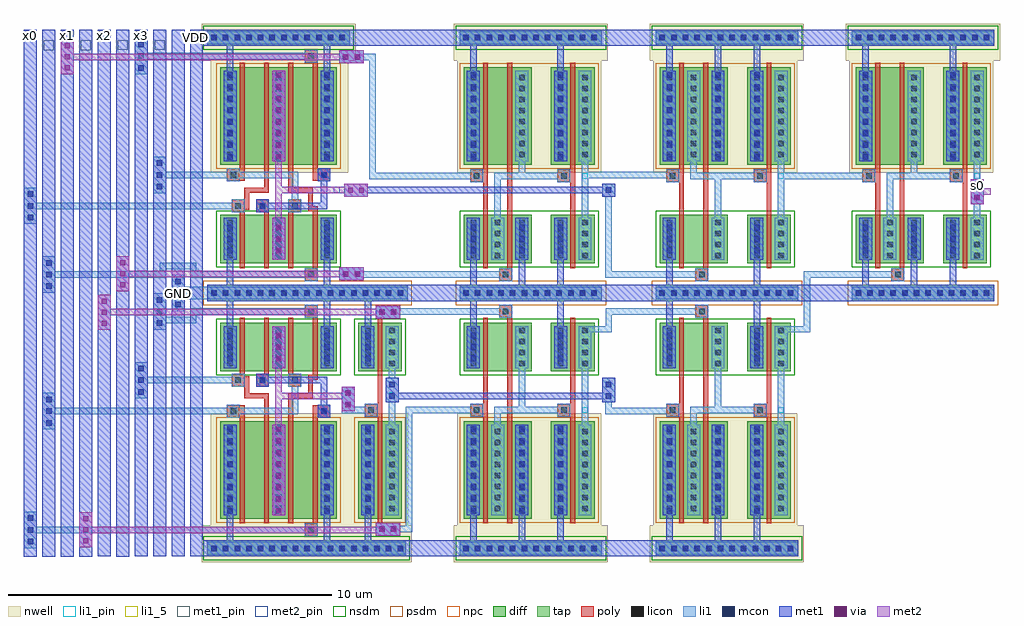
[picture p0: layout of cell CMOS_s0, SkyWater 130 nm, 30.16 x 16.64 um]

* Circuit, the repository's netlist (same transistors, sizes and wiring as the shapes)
* NGSPICE file created from CMOS_s0.ext - technology: sky130A

.subckt CMOS_AND GND AND A B VDD
X0 a_n265_0# B VDD VDD sky130_fd_pr__pfet_01v8 ad=1.8e+12p pd=7.2e+06u as=5.4e+12p ps=2.16e+07u w=3e+06u l=150000u
X1 VDD A a_n265_0# VDD sky130_fd_pr__pfet_01v8 ad=0p pd=0u as=0p ps=0u w=3e+06u l=150000u
X2 a_n265_0# A a_n265_n610# GND sky130_fd_pr__nfet_01v8 ad=9e+11p pd=4.2e+06u as=9e+11p ps=4.2e+06u w=1.5e+06u l=150000u
X3 AND a_n265_0# VDD VDD sky130_fd_pr__pfet_01v8 ad=1.8e+12p pd=7.2e+06u as=0p ps=0u w=3e+06u l=150000u
X4 a_n265_n610# B GND GND sky130_fd_pr__nfet_01v8 ad=0p pd=0u as=1.8e+12p ps=8.4e+06u w=1.5e+06u l=150000u
X5 AND a_n265_0# GND GND sky130_fd_pr__nfet_01v8 ad=9e+11p pd=4.2e+06u as=0p ps=0u w=1.5e+06u l=150000u
.ends

.subckt CMOS_XNOR GND XNOR B A_bar A B_bar a_n233_n610# VDD
X0 XNOR a_n233_n610# GND GND sky130_fd_pr__nfet_01v8 ad=9e+11p pd=4.2e+06u as=2.7e+12p ps=1.26e+07u w=1.5e+06u l=150000u
X1 a_n383_n610# A GND GND sky130_fd_pr__nfet_01v8 ad=9e+11p pd=4.2e+06u as=0p ps=0u w=1.5e+06u l=150000u
X2 a_n233_n610# B a_n383_n610# GND sky130_fd_pr__nfet_01v8 ad=9e+11p pd=4.2e+06u as=0p ps=0u w=1.5e+06u l=150000u
X3 a_n383_0# B_bar VDD VDD sky130_fd_pr__pfet_01v8 ad=1.8e+12p pd=7.2e+06u as=5.4e+12p ps=2.16e+07u w=3e+06u l=150000u
X4 a_n233_n610# A a_n383_0# VDD sky130_fd_pr__pfet_01v8 ad=1.8e+12p pd=7.2e+06u as=0p ps=0u w=3e+06u l=150000u
X5 a_n83_0# A_bar a_n233_n610# VDD sky130_fd_pr__pfet_01v8 ad=1.8e+12p pd=7.2e+06u as=0p ps=0u w=3e+06u l=150000u
X6 a_n83_n610# B_bar a_n233_n610# GND sky130_fd_pr__nfet_01v8 ad=9e+11p pd=4.2e+06u as=0p ps=0u w=1.5e+06u l=150000u
X7 GND A_bar a_n83_n610# GND sky130_fd_pr__nfet_01v8 ad=0p pd=0u as=0p ps=0u w=1.5e+06u l=150000u
X8 XNOR a_n233_n610# VDD VDD sky130_fd_pr__pfet_01v8 ad=1.8e+12p pd=7.2e+06u as=0p ps=0u w=3e+06u l=150000u
X9 VDD B a_n83_0# VDD sky130_fd_pr__pfet_01v8 ad=0p pd=0u as=0p ps=0u w=3e+06u l=150000u
.ends

.subckt CMOS_OR GND OR B A VDD
X0 a_n265_0# A VDD VDD sky130_fd_pr__pfet_01v8 ad=1.8e+12p pd=7.2e+06u as=3.6e+12p ps=1.44e+07u w=3e+06u l=150000u
X1 a_n265_n610# B a_n265_0# VDD sky130_fd_pr__pfet_01v8 ad=1.8e+12p pd=7.2e+06u as=0p ps=0u w=3e+06u l=150000u
X2 GND B a_n265_n610# GND sky130_fd_pr__nfet_01v8 ad=2.7e+12p pd=1.26e+07u as=9e+11p ps=4.2e+06u w=1.5e+06u l=150000u
X3 OR a_n265_n610# VDD VDD sky130_fd_pr__pfet_01v8 ad=1.8e+12p pd=7.2e+06u as=0p ps=0u w=3e+06u l=150000u
X4 a_n265_n610# A GND GND sky130_fd_pr__nfet_01v8 ad=0p pd=0u as=0p ps=0u w=1.5e+06u l=150000u
X5 OR a_n265_n610# GND GND sky130_fd_pr__nfet_01v8 ad=9e+11p pd=4.2e+06u as=0p ps=0u w=1.5e+06u l=150000u
.ends

.subckt CMOS_XOR GND B A_bar A B_bar XOR VDD
X0 a_90_0# A_bar XOR VDD sky130_fd_pr__pfet_01v8 ad=1.8e+12p pd=7.2e+06u as=1.8e+12p ps=7.2e+06u w=3e+06u l=150000u
X1 VDD B a_90_0# VDD sky130_fd_pr__pfet_01v8 ad=3.6e+12p pd=1.44e+07u as=0p ps=0u w=3e+06u l=150000u
X2 a_n210_n610# A GND GND sky130_fd_pr__nfet_01v8 ad=9e+11p pd=4.2e+06u as=1.8e+12p ps=8.4e+06u w=1.5e+06u l=150000u
X3 GND A_bar a_90_n610# GND sky130_fd_pr__nfet_01v8 ad=0p pd=0u as=9e+11p ps=4.2e+06u w=1.5e+06u l=150000u
X4 XOR A a_n210_0# VDD sky130_fd_pr__pfet_01v8 ad=0p pd=0u as=1.8e+12p ps=7.2e+06u w=3e+06u l=150000u
X5 a_n210_0# B_bar VDD VDD sky130_fd_pr__pfet_01v8 ad=0p pd=0u as=0p ps=0u w=3e+06u l=150000u
X6 a_90_n610# B_bar XOR GND sky130_fd_pr__nfet_01v8 ad=0p pd=0u as=9e+11p ps=4.2e+06u w=1.5e+06u l=150000u
X7 XOR B a_n210_n610# GND sky130_fd_pr__nfet_01v8 ad=0p pd=0u as=0p ps=0u w=1.5e+06u l=150000u
.ends

.subckt CMOS_s0 GND x0 x0_bar x1 x1_bar x2 x2_bar x3 x3_bar VDD s0
XCMOS_AND_0 GND CMOS_OR_0/A CMOS_AND_0/A CMOS_OR_1/OR VDD CMOS_AND
XCMOS_AND_1 GND CMOS_OR_0/B CMOS_AND_1/A CMOS_AND_1/B VDD CMOS_AND
XCMOS_AND_2 GND CMOS_AND_1/A x2 x1_bar VDD CMOS_AND
XCMOS_XNOR_0 GND CMOS_AND_1/B x0 x3_bar x3 x0_bar li_n1691_n898# VDD CMOS_XNOR
XCMOS_OR_0 GND s0 CMOS_OR_0/B CMOS_OR_0/A VDD CMOS_OR
XCMOS_OR_1 GND CMOS_OR_1/OR x2_bar x1 VDD CMOS_OR
XCMOS_XOR_0 GND x3 x0_bar x0 x3_bar CMOS_AND_0/A VDD CMOS_XOR
.ends

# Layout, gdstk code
import gdstk
lib = gdstk.Library(unit=1e-6, precision=1e-09)
def R(c, l, rs):  # rectangles x0, y0, x1, y1
    for r in rs: c.add(gdstk.rectangle(r[:2], r[2:], *l))
def A(c, l, x, y, w, h, nx, ny, dx, dy):  # array of equal rectangles
    R(c, l, [(x+i*dx, y+j*dy, x+i*dx+w, y+j*dy+h) for i in range(nx) for j in range(ny)])
nwell = (64, 20)
diff = (65, 20)
tap = (65, 44)
poly = (66, 20)
licon = (66, 44)
li1_5 = (67, 5)
li1_pin = (67, 16)
li1 = (67, 20)
mcon = (67, 44)
met1_pin = (68, 16)
met1 = (68, 20)
via = (68, 44)
met2_pin = (69, 16)
met2 = (69, 20)
nsdm = (93, 44)
psdm = (94, 20)
npc = (95, 20)

cmos_xnor = lib.new_cell('CMOS_XNOR')
R(cmos_xnor, nwell, [(-2.965,-0.25,3.14,3.2), (-3.245,3.2,3.245,4.35)])
R(cmos_xnor, diff, [(-2.665,-3.05,0.935,-1.55), (1.59,-3.05,2.94,-1.55), (-2.665,0,0.935,3), (1.59,0,2.94,3)])
R(cmos_xnor, tap, [(-3.065,-4.22,3.12,-3.72), (-3.065,3.67,3.065,4.17)])
A(cmos_xnor, poly, -2.065, -3.2, 0.15, 1.725, 3, 1, 0.75, 0)
R(cmos_xnor, poly, [(-0.065,-3.6,0.335,-3.2), (0.185,-3.2,0.335,-1.44), (2.19,-3.2,2.34,-0.55), (-2.315,-1.475,-1.915,-1.4), (-1.565,-1.475,-1.165,-1.075), (-0.565,-1.475,-0.165,-1.075), (0.045,-1.44,0.335,-1.29), (-2.315,-1.4,-1.775,-1.075), (0.045,-1.29,0.195,-0.865), (-1.925,-1.075,-1.775,-0.865), (-1.925,-0.865,-1.165,-0.715), (-0.565,-0.865,0.195,-0.715), (-1.315,-0.715,-1.165,3.15), (-0.565,-0.715,-0.415,3.15), (1.79,-0.55,2.34,-0.15), (-2.465,-0.52,-2.065,-0.505), (0.335,-0.52,0.735,-0.505), (-2.465,-0.505,-1.915,-0.12), (0.185,-0.505,0.735,-0.12), (2.19,-0.15,2.34,3.15), (-2.065,-0.12,-1.915,3.15), (0.185,-0.12,0.335,3.15), (-0.065,3.15,0.335,3.55)])
A(cmos_xnor, licon, -2.95, -4.055, 0.17, 0.17, 17, 2, 0.36, 7.89)
A(cmos_xnor, licon, -2.45, -2.895, 0.17, 0.17, 3, 4, 1.5, 0.34)
A(cmos_xnor, licon, 1.805, -2.895, 0.17, 0.17, 1, 4, 0, 0.34)
A(cmos_xnor, licon, 2.555, -2.895, 0.17, 0.17, 1, 4, 0, 0.34)
A(cmos_xnor, licon, -2.45, 0.225, 0.17, 0.17, 3, 8, 1.5, 0.34)
A(cmos_xnor, licon, 1.805, 0.225, 0.17, 0.17, 1, 8, 0, 0.34)
A(cmos_xnor, licon, 2.555, 0.225, 0.17, 0.17, 1, 8, 0, 0.34)
R(cmos_xnor, licon, [(0.05,-3.485,0.22,-3.315), (-2.2,-1.36,-2.03,-1.19), (-1.45,-1.36,-1.28,-1.19), (-0.45,-1.36,-0.28,-1.19), (1.905,-0.435,2.075,-0.265), (-2.35,-0.405,-2.18,-0.235), (0.45,-0.405,0.62,-0.235), (0.05,3.265,0.22,3.435)])
R(cmos_xnor, li1_5, [(1.905,-0.435,2.075,-0.265)])
R(cmos_xnor, li1_pin, [(0.05,-3.485,0.22,-3.315), (-2.2,-1.36,-2.03,-1.19), (2.555,-0.91,2.725,-0.74), (-2.38,-0.445,-2.135,-0.21), (0.05,3.265,0.22,3.435)])
A(cmos_xnor, li1, -2.565, -2.95, 0.4, 1.3, 3, 1, 1.5, 0)
A(cmos_xnor, li1, -2.565, 0.1, 0.4, 2.8, 3, 1, 1.5, 0)
R(cmos_xnor, li1, [(-3.065,-4.17,3.12,-3.77), (-0.065,-3.6,0.335,-3.2), (1.69,-2.95,2.09,-1.65), (2.44,-2.95,2.84,-1.65), (2.54,-1.65,2.74,0.1), (-2.315,-1.475,-1.915,-1.075), (-1.565,-1.475,-1.165,-1.075), (-0.565,-1.475,-0.165,-1.075), (1.08,-1.08,1.48,-0.68), (-0.465,-1.075,-0.265,-0.42), (1.18,-0.68,1.38,-0.45), (1.79,-0.55,2.19,-0.45), (-2.465,-0.52,-2.065,-0.42), (0.335,-0.52,0.735,-0.12), (1.18,-0.45,2.19,-0.25), (-2.465,-0.42,-0.265,-0.22), (1.79,-0.25,2.19,-0.15), (-2.465,-0.22,-2.065,-0.12), (1.69,0.1,2.09,2.9), (2.44,0.1,2.84,2.9), (-0.065,3.15,0.335,3.55), (-3.065,3.72,3.065,4.12)])
A(cmos_xnor, mcon, -2.95, -4.055, 0.17, 0.17, 17, 2, 0.36, 7.89)
A(cmos_xnor, mcon, -2.45, -2.745, 0.17, 0.17, 3, 3, 1.5, 0.36)
A(cmos_xnor, mcon, 1.805, -2.745, 0.17, 0.17, 1, 3, 0, 0.36)
A(cmos_xnor, mcon, -2.45, 0.155, 0.17, 0.17, 3, 8, 1.5, 0.36)
A(cmos_xnor, mcon, 1.805, 0.155, 0.17, 0.17, 1, 8, 0, 0.36)
R(cmos_xnor, mcon, [(-1.45,-1.36,-1.28,-1.19), (1.195,-0.965,1.365,-0.795), (0.45,-0.405,0.62,-0.235)])
R(cmos_xnor, met1_pin, [(-1.165,-4.07,-0.965,-3.87), (-1.165,3.82,-0.965,4.02)])
A(cmos_xnor, met1, -2.565, -2.95, 0.4, 1.3, 3, 1, 1.5, 0)
A(cmos_xnor, met1, -2.565, 0.1, 0.4, 2.8, 3, 1, 1.5, 0)
R(cmos_xnor, met1, [(-3.065,-4.22,3.12,-3.72), (-2.465,-3.72,-2.265,-2.95), (0.535,-3.72,0.735,-2.95), (1.79,-3.72,1.99,-2.95), (1.69,-2.95,2.09,-1.65), (-1.565,-1.475,-1.165,-1.375), (-1.565,-1.375,0.63,-1.175), (-1.565,-1.175,-1.165,-1.075), (0.435,-1.175,0.63,-0.52), (1.08,-1.08,1.48,-0.68), (0.335,-0.52,0.735,-0.12), (1.69,0.1,2.09,2.9), (-2.465,2.9,-2.265,3.67), (0.535,2.9,0.735,3.67), (1.79,2.9,1.99,3.67), (-3.065,3.67,3.065,4.17)])
A(cmos_xnor, via, -0.94, -2.735, 0.15, 0.15, 1, 3, 0, 0.36)
A(cmos_xnor, via, -0.94, 0.165, 0.15, 0.15, 1, 8, 0, 0.36)
R(cmos_xnor, via, [(1.205,-0.955,1.355,-0.805)])
R(cmos_xnor, met2, [(-1.065,-2.95,-0.665,-1.65), (-0.965,-1.65,-0.765,-0.88), (1.08,-1.08,1.48,-0.88), (-0.965,-0.88,1.48,-0.68), (-0.965,-0.68,-0.765,0.1), (-1.065,0.1,-0.665,2.9)])
R(cmos_xnor, nsdm, [(-2.79,-3.175,1.06,-1.425), (1.465,-3.175,3.065,-1.425), (-3.19,3.545,3.19,4.295)])
R(cmos_xnor, psdm, [(-3.19,-4.345,3.245,-3.595), (-2.79,-0.125,1.06,3.125), (1.465,-0.125,3.065,3.125)])
R(cmos_xnor, npc, [(-0.05,-3.585,0.32,-3.215), (-2.3,-1.46,-1.93,-1.09), (-1.55,-1.46,-1.18,-1.09), (-0.55,-1.46,-0.18,-1.09), (1.805,-0.535,2.175,-0.165), (-2.45,-0.505,-2.08,-0.135), (0.35,-0.505,0.72,-0.135), (-0.05,3.165,0.32,3.535)])
cmos_xnor.add(gdstk.Label('GND!', (-1.065,-3.97), layer=68, texttype=16))
cmos_xnor.add(gdstk.Label('VDD', (-1.065,3.92), layer=68, texttype=16))
cmos_xnor.add(gdstk.Label('XNOR', (2.64,-0.825), layer=67, texttype=16))
cmos_xnor.add(gdstk.Label('B', (0.135,3.35), layer=67, texttype=16))
cmos_xnor.add(gdstk.Label('A_bar', (0.135,-3.4), layer=67, texttype=16))
cmos_xnor.add(gdstk.Label('A', (-2.115,-1.275), layer=67, texttype=16))
cmos_xnor.add(gdstk.Label('B_bar', (-2.257,-0.327), layer=67, texttype=16))

cmos_or = lib.new_cell('CMOS_OR')
R(cmos_or, nwell, [(-2.275,-0.25,2.175,3.2), (-2.38,3.2,2.38,4.35)])
R(cmos_or, diff, [(-2.075,-3.05,0.025,-1.55), (0.625,-3.05,1.975,-1.55), (-2.075,0,0.025,3), (0.625,0,1.975,3)])
R(cmos_or, tap, [(-2.2,-4.22,2.2,-3.72), (-2.2,3.67,2.2,4.17)])
R(cmos_or, poly, [(-0.975,-3.6,-0.575,-3.2), (-1.475,-3.2,-1.325,-0.55), (-0.725,-3.2,-0.575,3.15), (1.225,-3.2,1.375,-0.55), (-1.875,-0.55,-1.325,-0.15), (0.825,-0.55,1.375,-0.15), (-1.475,-0.15,-1.325,3.15), (1.225,-0.15,1.375,3.15)])
A(cmos_or, licon, -2.085, -4.055, 0.17, 0.17, 12, 2, 0.36, 7.89)
A(cmos_or, licon, -1.86, -2.895, 0.17, 0.17, 3, 4, 0.75, 0.34)
A(cmos_or, licon, 0.84, -2.895, 0.17, 0.17, 1, 4, 0, 0.34)
A(cmos_or, licon, 1.59, -2.895, 0.17, 0.17, 1, 4, 0, 0.34)
A(cmos_or, licon, -1.86, 0.225, 0.17, 0.17, 1, 8, 0, 0.34)
A(cmos_or, licon, -0.36, 0.225, 0.17, 0.17, 1, 8, 0, 0.34)
A(cmos_or, licon, 0.84, 0.225, 0.17, 0.17, 1, 8, 0, 0.34)
A(cmos_or, licon, 1.59, 0.225, 0.17, 0.17, 1, 8, 0, 0.34)
R(cmos_or, licon, [(-0.86,-3.485,-0.69,-3.315), (-1.76,-0.435,-1.59,-0.265), (0.94,-0.435,1.11,-0.265)])
R(cmos_or, li1_pin, [(-0.86,-3.485,-0.69,-3.315), (-1.76,-0.435,-1.59,-0.265), (1.59,-0.435,1.76,-0.265)])
A(cmos_or, li1, -1.975, -2.95, 0.4, 1.3, 3, 1, 0.75, 0)
R(cmos_or, li1, [(-2.2,-4.17,2.2,-3.77), (-0.975,-3.6,-0.575,-3.2), (0.725,-2.95,1.125,-1.65), (1.475,-2.95,1.875,-1.65), (-1.125,-1.65,-0.925,-0.45), (1.575,-1.65,1.775,0.1), (-1.875,-0.55,-1.475,-0.15), (0.825,-0.55,1.225,-0.45), (-1.125,-0.45,1.225,-0.25), (-0.375,-0.25,-0.175,0.1), (0.825,-0.25,1.225,-0.15), (-1.975,0.1,-1.575,2.9), (-0.475,0.1,-0.075,2.9), (0.725,0.1,1.125,2.9), (1.475,0.1,1.875,2.9), (-2.2,3.72,2.2,4.12)])
A(cmos_or, mcon, -2.085, -4.055, 0.17, 0.17, 12, 2, 0.36, 7.89)
A(cmos_or, mcon, -1.86, -2.745, 0.17, 0.17, 1, 3, 0, 0.36)
A(cmos_or, mcon, -0.36, -2.745, 0.17, 0.17, 1, 3, 0, 0.36)
A(cmos_or, mcon, 0.84, -2.745, 0.17, 0.17, 1, 3, 0, 0.36)
A(cmos_or, mcon, -1.86, 0.155, 0.17, 0.17, 1, 8, 0, 0.36)
A(cmos_or, mcon, 0.84, 0.155, 0.17, 0.17, 1, 8, 0, 0.36)
R(cmos_or, met1_pin, [(-0.3,-4.07,-0.1,-3.87), (-0.3,3.82,-0.1,4.02)])
R(cmos_or, met1, [(-2.2,-4.22,2.2,-3.72), (-1.875,-3.72,-1.675,-2.95), (-0.375,-3.72,-0.175,-2.95), (0.825,-3.72,1.025,-2.95), (-1.975,-2.95,-1.575,-1.65), (-0.475,-2.95,-0.075,-1.65), (0.725,-2.95,1.125,-1.65), (-1.975,0.1,-1.575,2.9), (0.725,0.1,1.125,2.9), (-1.875,2.9,-1.675,3.67), (0.825,2.9,1.025,3.67), (-2.2,3.67,2.2,4.17)])
R(cmos_or, nsdm, [(-2.2,-3.175,2.1,-1.425), (-2.325,3.545,2.325,4.295)])
R(cmos_or, psdm, [(-2.325,-4.345,2.325,-3.595), (-2.2,-0.125,2.1,3.125)])
R(cmos_or, npc, [(-0.96,-3.585,-0.59,-3.215), (-1.86,-0.535,-1.49,-0.165), (0.84,-0.535,1.21,-0.165)])
cmos_or.add(gdstk.Label('GND!', (-0.2,-3.97), layer=68, texttype=16))
cmos_or.add(gdstk.Label('VDD', (-0.2,3.92), layer=68, texttype=16))
cmos_or.add(gdstk.Label('OR', (1.675,-0.35), layer=67, texttype=16))
cmos_or.add(gdstk.Label('B', (-0.775,-3.4), layer=67, texttype=16))
cmos_or.add(gdstk.Label('A', (-1.675,-0.35), layer=67, texttype=16))

cmos_and = lib.new_cell('CMOS_AND')
R(cmos_and, nwell, [(-2.275,-0.25,2.175,3.2), (-2.38,3.2,2.38,4.35)])
R(cmos_and, diff, [(-2.075,-3.05,0.025,-1.55), (0.625,-3.05,1.975,-1.55), (-2.075,0,0.025,3), (0.625,0,1.975,3)])
R(cmos_and, tap, [(-2.2,-4.22,2.2,-3.72), (-2.2,3.67,2.2,4.17)])
R(cmos_and, poly, [(-0.975,-3.6,-0.575,-3.2), (-1.475,-3.2,-1.325,-0.55), (-0.725,-3.2,-0.575,3.15), (1.225,-3.2,1.375,-0.55), (-1.875,-0.55,-1.325,-0.15), (0.825,-0.55,1.375,-0.15), (-1.475,-0.15,-1.325,3.15), (1.225,-0.15,1.375,3.15)])
A(cmos_and, licon, -2.085, -4.055, 0.17, 0.17, 12, 2, 0.36, 7.89)
A(cmos_and, licon, -1.86, -2.895, 0.17, 0.17, 1, 4, 0, 0.34)
A(cmos_and, licon, -0.36, -2.895, 0.17, 0.17, 1, 4, 0, 0.34)
A(cmos_and, licon, 0.84, -2.895, 0.17, 0.17, 1, 4, 0, 0.34)
A(cmos_and, licon, 1.59, -2.895, 0.17, 0.17, 1, 4, 0, 0.34)
A(cmos_and, licon, -1.86, 0.225, 0.17, 0.17, 3, 8, 0.75, 0.34)
A(cmos_and, licon, 0.84, 0.225, 0.17, 0.17, 1, 8, 0, 0.34)
A(cmos_and, licon, 1.59, 0.225, 0.17, 0.17, 1, 8, 0, 0.34)
R(cmos_and, licon, [(-0.86,-3.485,-0.69,-3.315), (-1.76,-0.435,-1.59,-0.265), (0.94,-0.435,1.11,-0.265)])
R(cmos_and, li1_pin, [(-0.86,-3.485,-0.69,-3.315), (-1.76,-0.435,-1.59,-0.265), (1.59,-0.435,1.76,-0.265)])
A(cmos_and, li1, -1.975, 0.1, 0.4, 2.8, 3, 1, 0.75, 0)
R(cmos_and, li1, [(-2.2,-4.17,2.2,-3.77), (-0.975,-3.6,-0.575,-3.2), (-1.975,-2.95,-1.575,-1.65), (-0.475,-2.95,-0.075,-1.65), (0.725,-2.95,1.125,-1.65), (1.475,-2.95,1.875,-1.65), (-0.375,-1.65,-0.175,-0.45), (1.575,-1.65,1.775,0.1), (-1.875,-0.55,-1.475,-0.15), (0.825,-0.55,1.225,-0.45), (-1.125,-0.45,1.225,-0.25), (-1.125,-0.25,-0.925,0.1), (0.825,-0.25,1.225,-0.15), (0.725,0.1,1.125,2.9), (1.475,0.1,1.875,2.9), (-2.2,3.72,2.2,4.12)])
A(cmos_and, mcon, -2.085, -4.055, 0.17, 0.17, 12, 2, 0.36, 7.89)
A(cmos_and, mcon, -1.86, -2.745, 0.17, 0.17, 1, 3, 0, 0.36)
A(cmos_and, mcon, 0.84, -2.745, 0.17, 0.17, 1, 3, 0, 0.36)
A(cmos_and, mcon, -1.86, 0.155, 0.17, 0.17, 1, 8, 0, 0.36)
A(cmos_and, mcon, -0.36, 0.155, 0.17, 0.17, 1, 8, 0, 0.36)
A(cmos_and, mcon, 0.84, 0.155, 0.17, 0.17, 1, 8, 0, 0.36)
R(cmos_and, met1_pin, [(-0.3,-4.07,-0.1,-3.87), (-0.3,3.82,-0.1,4.02)])
R(cmos_and, met1, [(-2.2,-4.22,2.2,-3.72), (-1.875,-3.72,-1.675,-2.95), (0.825,-3.72,1.025,-2.95), (-1.975,-2.95,-1.575,-1.65), (0.725,-2.95,1.125,-1.65), (-1.975,0.1,-1.575,2.9), (-0.475,0.1,-0.075,2.9), (0.725,0.1,1.125,2.9), (-1.875,2.9,-1.675,3.67), (-0.37,2.9,-0.17,3.67), (0.825,2.9,1.025,3.67), (-2.2,3.67,2.2,4.17)])
R(cmos_and, nsdm, [(-2.2,-3.175,2.1,-1.425), (-2.325,3.545,2.325,4.295)])
R(cmos_and, psdm, [(-2.325,-4.345,2.325,-3.595), (-2.2,-0.125,2.1,3.125)])
R(cmos_and, npc, [(-0.96,-3.585,-0.59,-3.215), (-1.86,-0.535,-1.49,-0.165), (0.84,-0.535,1.21,-0.165)])
cmos_and.add(gdstk.Label('GND!', (-0.2,-3.97), layer=68, texttype=16))
cmos_and.add(gdstk.Label('VDD', (-0.2,3.92), layer=68, texttype=16))
cmos_and.add(gdstk.Label('AND', (1.675,-0.35), layer=67, texttype=16))
cmos_and.add(gdstk.Label('A', (-0.775,-3.4), layer=67, texttype=16))
cmos_and.add(gdstk.Label('B', (-1.675,-0.35), layer=67, texttype=16))

cmos_xor = lib.new_cell('CMOS_XOR')
R(cmos_xor, nwell, [(-2.1,-0.25,2.15,3.2), (-2.38,3.2,2.38,4.35)])
R(cmos_xor, diff, [(-1.8,-3.05,1.8,-1.55), (-1.8,0,1.8,3)])
R(cmos_xor, tap, [(-2.2,-4.22,2.2,-3.72), (-2.2,3.67,2.2,4.17)])
A(cmos_xor, poly, -1.2, -3.2, 0.15, 1.725, 3, 1, 0.75, 0)
R(cmos_xor, poly, [(0.8,-3.6,1.2,-3.2), (1.05,-3.2,1.2,-1.44), (-1.45,-1.475,-1.05,-1.4), (-0.7,-1.475,-0.3,-1.075), (0.3,-1.475,0.7,-1.075), (0.91,-1.44,1.2,-1.29), (-1.45,-1.4,-0.91,-1.075), (0.91,-1.29,1.06,-0.865), (-1.06,-1.075,-0.91,-0.865), (-1.06,-0.865,-0.3,-0.715), (0.3,-0.865,1.06,-0.715), (-0.45,-0.715,-0.3,3.15), (0.3,-0.715,0.45,3.15), (-1.6,-0.52,-1.2,-0.505), (1.2,-0.52,1.6,-0.505), (-1.6,-0.505,-1.05,-0.12), (1.05,-0.505,1.6,-0.12), (-1.2,-0.12,-1.05,3.15), (1.05,-0.12,1.2,3.15), (0.8,3.15,1.2,3.55)])
A(cmos_xor, licon, -2.085, -4.055, 0.17, 0.17, 12, 2, 0.36, 7.89)
A(cmos_xor, licon, -1.585, -2.895, 0.17, 0.17, 3, 4, 1.5, 0.34)
A(cmos_xor, licon, -1.585, 0.225, 0.17, 0.17, 3, 8, 1.5, 0.34)
R(cmos_xor, licon, [(0.915,-3.485,1.085,-3.315), (-1.335,-1.36,-1.165,-1.19), (-0.585,-1.36,-0.415,-1.19), (0.415,-1.36,0.585,-1.19), (-1.485,-0.405,-1.315,-0.235), (1.315,-0.405,1.485,-0.235), (0.915,3.265,1.085,3.435)])
R(cmos_xor, li1_pin, [(0.915,-3.485,1.085,-3.315), (-1.335,-1.36,-1.165,-1.19), (-1.515,-0.445,-1.27,-0.21), (0.915,3.265,1.085,3.435)])
A(cmos_xor, li1, -1.7, -2.95, 0.4, 1.3, 3, 1, 1.5, 0)
A(cmos_xor, li1, -1.7, 0.1, 0.4, 2.8, 3, 1, 1.5, 0)
R(cmos_xor, li1, [(-2.2,-4.17,2.2,-3.77), (0.8,-3.6,1.2,-3.2), (-1.45,-1.475,-1.05,-1.075), (-0.7,-1.475,-0.3,-1.075), (0.3,-1.475,0.7,-1.075), (0.4,-1.075,0.6,-0.42), (-1.6,-0.52,-1.2,-0.42), (1.2,-0.52,1.6,-0.12), (-1.6,-0.42,0.6,-0.22), (-1.6,-0.22,-1.2,-0.12), (0.8,3.15,1.2,3.55), (-2.2,3.72,2.2,4.12)])
A(cmos_xor, mcon, -2.085, -4.055, 0.17, 0.17, 12, 2, 0.36, 7.89)
A(cmos_xor, mcon, -1.585, -2.745, 0.17, 0.17, 3, 3, 1.5, 0.36)
A(cmos_xor, mcon, -1.585, 0.155, 0.17, 0.17, 3, 8, 1.5, 0.36)
R(cmos_xor, mcon, [(-0.585,-1.36,-0.415,-1.19), (1.315,-0.405,1.485,-0.235)])
R(cmos_xor, met1_pin, [(-0.3,-4.07,-0.1,-3.87), (-0.3,3.82,-0.1,4.02)])
A(cmos_xor, met1, -1.7, -2.95, 0.4, 1.3, 3, 1, 1.5, 0)
A(cmos_xor, met1, -1.7, 0.1, 0.4, 2.8, 3, 1, 1.5, 0)
R(cmos_xor, met1, [(-2.2,-4.22,2.2,-3.72), (-1.6,-3.72,-1.4,-2.95), (1.4,-3.72,1.6,-2.95), (-0.7,-1.475,-0.3,-1.375), (-0.7,-1.375,1.495,-1.175), (-0.7,-1.175,-0.3,-1.075), (1.3,-1.175,1.495,-0.52), (1.2,-0.52,1.6,-0.12), (-1.6,2.9,-1.4,3.67), (1.4,2.9,1.6,3.67), (-2.2,3.67,2.2,4.17)])
A(cmos_xor, via, -0.075, -2.735, 0.15, 0.15, 1, 3, 0, 0.36)
A(cmos_xor, via, -0.075, 0.165, 0.15, 0.15, 1, 8, 0, 0.36)
R(cmos_xor, met2_pin, [(1.7,-0.87,1.88,-0.69)])
R(cmos_xor, met2, [(-0.2,-2.95,0.2,-1.65), (-0.1,-1.65,0.1,-0.88), (-0.1,-0.88,2.15,-0.68), (-0.1,-0.68,0.1,0.1), (-0.2,0.1,0.2,2.9)])
R(cmos_xor, nsdm, [(-1.925,-3.175,1.925,-1.425), (-2.325,3.545,2.325,4.295)])
R(cmos_xor, psdm, [(-2.325,-4.345,2.325,-3.595), (-1.925,-0.125,1.925,3.125)])
R(cmos_xor, npc, [(0.815,-3.585,1.185,-3.215), (-1.435,-1.46,-1.065,-1.09), (-0.685,-1.46,-0.315,-1.09), (0.315,-1.46,0.685,-1.09), (-1.585,-0.505,-1.215,-0.135), (1.215,-0.505,1.585,-0.135), (0.815,3.165,1.185,3.535)])
cmos_xor.add(gdstk.Label('GND!', (-0.2,-3.97), layer=68, texttype=16))
cmos_xor.add(gdstk.Label('VDD', (-0.2,3.92), layer=68, texttype=16))
cmos_xor.add(gdstk.Label('B', (1,3.35), layer=67, texttype=16))
cmos_xor.add(gdstk.Label('A_bar', (1,-3.4), layer=67, texttype=16))
cmos_xor.add(gdstk.Label('A', (-1.25,-1.275), layer=67, texttype=16))
cmos_xor.add(gdstk.Label('B_bar', (-1.392,-0.327), layer=67, texttype=16))
cmos_xor.add(gdstk.Label('XOR', (1.79,-0.78), layer=69, texttype=16))

cmos_s0 = lib.new_cell('CMOS_s0')
R(cmos_s0, li1, [(-18.27,-8.65,-17.87,-8.19), (-7.405,-8.27,-6.645,-8.17), (-18.27,-8.19,-9.6,-7.99), (-7.405,-8.17,-6.275,-7.97), (-18.27,-7.99,-17.87,-7.53), (-7.405,-7.97,-6.645,-7.87), (-6.475,-7.97,-6.275,-4.49), (-17.7,-4.98,-17.3,-4.52), (-17.7,-4.52,-12,-4.32), (-0.305,-4.52,1.62,-4.32), (-8.455,-4.49,-8.355,-4.42), (-6.475,-4.49,-4.485,-4.29), (-8.455,-4.42,-8.055,-4.02), (-17.7,-4.32,-17.3,-3.86), (-0.305,-4.32,-0.105,-4.15), (-7.095,-4.15,-6.695,-3.39), (-0.405,-4.15,-0.005,-3.39), (-14.85,-4.025,-14.45,-3.565), (-14.85,-3.565,-11.85,-3.365), (-14.85,-3.365,-14.45,-2.905), (-0.835,-1.99,-0.1,-1.79), (5.325,-1.99,6.02,-1.79), (-14.28,-1.9,-13.88,-1.7), (-0.3,-1.79,-0.1,-1.44), (5.82,-1.79,6.02,-0.3), (-14.28,-1.7,-12.94,-1.5), (-7.405,-1.56,-6.645,-1.44), (-14.28,-1.5,-13.88,-0.78), (-13.14,-1.5,-12.94,-1.44), (-13.14,-1.44,-9.6,-1.24), (-7.405,-1.44,-3.585,-1.24), (-0.3,-1.44,2.475,-1.24), (-13.71,-1.33,-13.31,-0.97), (-7.405,-1.24,-6.645,-1.16), (-13.71,-0.97,-12.6,-0.57), (-17.7,-0.76,-17.3,-0.3), (-13.71,-0.57,-13.31,-0.21), (-8.53,-0.38,-7.77,-0.3), (-17.7,-0.3,-13.88,-0.1), (-13.14,-0.3,-9.6,-0.1), (-8.53,-0.3,-3.585,-0.1), (-0.305,-0.3,2.475,-0.1), (5.82,-0.3,8.535,-0.1), (-17.7,-0.1,-17.3,0.36), (-14.08,-0.1,-13.88,-0.04), (-13.14,-0.1,-12.94,-0.04), (-8.53,-0.1,-7.77,0.02), (-0.305,-0.1,-0.105,2.21), (-14.08,-0.04,-12.94,0.16), (-18.27,1.365,-17.87,1.825), (-18.27,1.825,-11.85,2.025), (10.985,1.98,11.385,2.74), (-18.27,2.025,-17.87,2.485), (-0.405,2.21,-0.005,2.61), (-14.28,2.32,-13.88,2.78), (-7.6,2.75,-4.485,2.95), (5.225,2.75,7.635,2.95), (-14.28,2.78,-12,2.98), (-0.835,2.78,1.575,2.98), (-7.6,2.95,-7.4,6.43), (-14.28,2.98,-13.88,3.44), (-14.85,5.99,-14.45,6.45), (-8.53,6.33,-7.77,6.43), (-8.53,6.43,-7.4,6.63), (-14.85,6.45,-9.6,6.65), (-8.53,6.63,-7.77,6.73), (-14.85,6.65,-14.45,7.11)])
A(cmos_s0, mcon, -18.155, -8.535, 0.17, 0.17, 1, 3, 0, 0.36)
A(cmos_s0, mcon, -17.585, -4.865, 0.17, 0.17, 1, 3, 0, 0.36)
A(cmos_s0, mcon, -14.735, -3.91, 0.17, 0.17, 1, 3, 0, 0.36)
A(cmos_s0, mcon, -14.165, -1.785, 0.17, 0.17, 1, 3, 0, 0.36)
A(cmos_s0, mcon, -13.595, -1.215, 0.17, 0.17, 1, 3, 0, 0.36)
A(cmos_s0, mcon, -17.585, -0.645, 0.17, 0.17, 1, 3, 0, 0.36)
A(cmos_s0, mcon, -18.155, 1.48, 0.17, 0.17, 1, 3, 0, 0.36)
A(cmos_s0, mcon, -14.165, 2.435, 0.17, 0.17, 1, 3, 0, 0.36)
A(cmos_s0, mcon, -14.735, 6.105, 0.17, 0.17, 1, 3, 0, 0.36)
R(cmos_s0, mcon, [(-7.29,-8.155,-7.12,-7.985), (-6.93,-8.155,-6.76,-7.985), (-8.34,-4.305,-8.17,-4.135), (-6.98,-4.035,-6.81,-3.865), (-0.29,-4.035,-0.12,-3.865), (-6.98,-3.675,-6.81,-3.505), (-0.29,-3.675,-0.12,-3.505), (-7.29,-1.445,-7.12,-1.275), (-6.93,-1.445,-6.76,-1.275), (-8.415,-0.265,-8.245,-0.095), (-8.055,-0.265,-7.885,-0.095), (11.1,2.095,11.27,2.265), (-0.29,2.325,-0.12,2.495), (11.1,2.455,11.27,2.625), (-8.415,6.445,-8.245,6.615), (-8.055,6.445,-7.885,6.615)])
R(cmos_s0, met1_pin, [(-13.595,-0.855,-13.425,-0.685), (-17.655,6.735,-17.35,7.035), (-16.51,6.735,-16.205,7.035), (-15.375,6.74,-15.07,7.04), (-14.23,6.74,-13.925,7.04), (-18.22,7.04,-17.915,7.34), (-17.08,7.04,-16.775,7.34), (-13.05,7.04,-12.88,7.21), (-15.94,7.045,-15.635,7.345), (-14.8,7.045,-14.495,7.345)])
A(cmos_s0, met1, -18.27, -8.915, 0.4, 16.285, 4, 1, 0.57, 0)
A(cmos_s0, met1, -14.85, -8.91, 0.4, 16.28, 3, 1, 0.57, 0)
R(cmos_s0, met1, [(-15.42,-8.915,-15.02,7.37), (-15.99,-8.91,-15.59,7.37), (-13.14,-8.91,-12.6,-8.41), (-6.47,-8.91,-4.81,-8.41), (-0.41,-8.91,1.25,-8.41), (-13.14,-8.41,-12.74,6.87), (-7.405,-8.27,-6.645,-7.87), (-8.455,-4.42,-8.055,-4.02), (-7.095,-4.15,-6.695,-4.05), (-0.405,-4.15,-0.005,-4.05), (-7.095,-4.05,-0.005,-3.85), (-7.095,-3.85,-6.695,-3.39), (-0.405,-3.85,-0.005,-3.39), (-7.405,-1.56,-6.645,-1.16), (-6.415,-1.02,-4.755,-0.52), (-0.41,-1.02,1.25,-0.52), (5.65,-1.02,7.31,-0.52), (-8.53,-0.38,-7.77,0.02), (10.985,1.98,11.385,2.74), (-8.38,2.21,-7.64,2.31), (-0.405,2.21,-0.005,2.31), (-8.38,2.31,-0.005,2.51), (-8.38,2.51,-7.64,2.61), (-0.405,2.51,-0.005,2.61), (-8.53,6.33,-7.77,6.73), (-13.14,6.87,-12.6,7.37), (-8.2,6.87,-4.81,7.37), (-2.14,6.87,1.25,7.37), (5.65,6.87,7.31,7.37)])
A(cmos_s0, via, -16.435, -8.505, 0.15, 0.15, 1, 3, 0, 0.34)
A(cmos_s0, via, -15.865, -1.775, 0.15, 0.15, 1, 3, 0, 0.34)
A(cmos_s0, via, -15.295, -0.595, 0.15, 0.15, 1, 3, 0, 0.34)
A(cmos_s0, via, -17.005, 6.115, 0.15, 0.15, 1, 3, 0, 0.34)
R(cmos_s0, via, [(-7.28,-8.145,-7.13,-7.995), (-6.92,-8.145,-6.77,-7.995), (-8.33,-4.295,-8.18,-4.145), (-7.28,-1.435,-7.13,-1.285), (-6.92,-1.435,-6.77,-1.285), (-8.405,-0.255,-8.255,-0.105), (-8.045,-0.255,-7.895,-0.105), (11.11,2.105,11.26,2.255), (-8.255,2.335,-8.105,2.485), (-7.915,2.335,-7.765,2.485), (11.11,2.465,11.26,2.615), (-8.405,6.455,-8.255,6.605), (-8.045,6.455,-7.895,6.605)])
R(cmos_s0, met2_pin, [(11.1,2.455,11.27,2.625)])
R(cmos_s0, met2, [(-16.56,-8.63,-16.16,-8.19), (-7.405,-8.27,-6.645,-8.19), (-16.56,-8.19,-6.645,-7.99), (-16.56,-7.99,-16.16,-7.55), (-7.405,-7.99,-6.645,-7.87), (-8.455,-4.42,-8.055,-4.02), (-15.99,-1.9,-15.59,-1.46), (-7.405,-1.56,-6.645,-1.46), (-15.99,-1.46,-6.645,-1.26), (-15.99,-1.26,-15.59,-0.82), (-7.405,-1.26,-6.645,-1.16), (-15.42,-0.72,-15.02,-0.28), (-8.53,-0.38,-7.77,-0.28), (-15.42,-0.28,-7.77,-0.08), (-15.42,-0.08,-15.02,0.36), (-8.53,-0.08,-7.77,0.02), (10.985,1.98,11.385,2.26), (-8.38,2.21,-7.64,2.61), (10.985,2.26,11.61,2.46), (10.985,2.46,11.385,2.74), (-17.13,5.99,-16.73,6.43), (-8.53,6.33,-7.77,6.43), (-17.13,6.43,-7.77,6.63), (-17.13,6.63,-16.73,7.07), (-8.53,6.63,-7.77,6.73)])
cmos_s0.add(gdstk.Reference(cmos_xnor, (-9.535,-4.74), x_reflection=True))
cmos_s0.add(gdstk.Reference(cmos_or, (-2.61,3.2)))
cmos_s0.add(gdstk.Reference(cmos_or, (9.51,3.2)))
cmos_s0.add(gdstk.Reference(cmos_and, (-2.61,-4.74), x_reflection=True))
cmos_s0.add(gdstk.Reference(cmos_and, (3.45,-4.74), x_reflection=True))
cmos_s0.add(gdstk.Reference(cmos_and, (3.45,3.2)))
cmos_s0.add(gdstk.Reference(cmos_xor, (-10.4,3.2)))
cmos_s0.add(gdstk.Label('GND', (-13.51,-0.77), layer=68, texttype=16))
cmos_s0.add(gdstk.Label('x0', (-18.067,7.19), layer=68, texttype=16))
cmos_s0.add(gdstk.Label('x0_bar', (-17.502,6.885), layer=68, texttype=16))
cmos_s0.add(gdstk.Label('x1', (-16.927,7.19), layer=68, texttype=16))
cmos_s0.add(gdstk.Label('x1_bar', (-16.357,6.885), layer=68, texttype=16))
cmos_s0.add(gdstk.Label('x2', (-15.787,7.195), layer=68, texttype=16))
cmos_s0.add(gdstk.Label('x2_bar', (-15.222,6.89), layer=68, texttype=16))
cmos_s0.add(gdstk.Label('x3', (-14.647,7.195), layer=68, texttype=16))
cmos_s0.add(gdstk.Label('x3_bar', (-14.077,6.89), layer=68, texttype=16))
cmos_s0.add(gdstk.Label('VDD', (-12.965,7.125), layer=68, texttype=16))
cmos_s0.add(gdstk.Label('s0', (11.185,2.54), layer=69, texttype=16))

lib.write_gds('CMOS_s0.gds')
